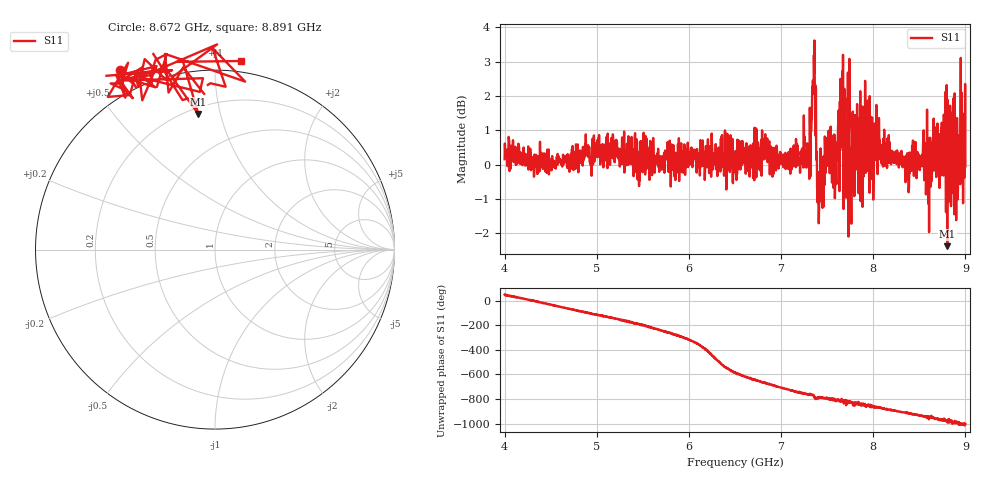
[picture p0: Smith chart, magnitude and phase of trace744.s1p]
! Created with skrf 1.8.0 (http://scikit-rf.org).
# Hz S RI R 50.0
!freq ReS11 ImS11
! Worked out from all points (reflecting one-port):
!   1601 points, 4 GHz to 9 GHz, reference 50 ohm
!   lowest |S11| = -2.4 dB at 8.803 GHz (marker M1), VSWR 7.36, Z = 11.9 + j42.8 ohm
!   phase of S11 starts at 49 deg and turns -1053 deg over the sweep
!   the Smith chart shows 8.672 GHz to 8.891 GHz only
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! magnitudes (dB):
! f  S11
! 4 GHz  0.2
! 4.625 GHz  -0.1
! 5.25 GHz  -0.1
! 5.875 GHz  0.2
! 6.416 GHz  0.1
! 6.5 GHz  0.2
! 6.562 GHz  0.7
! 7.125 GHz  0.2
! 7.294 GHz  0.4
! 7.353 GHz  2.1
! 7.409 GHz  -1.7
! 7.5 GHz  0.7
! 7.609 GHz  0.5
! 7.669 GHz  1.4
! 7.75 GHz  0.4
! 7.769 GHz  -0.5
! 7.8 GHz  -0.9
! 7.928 GHz  0.8
! 7.981 GHz  -0.4
! 8.05 GHz  0.3
! 8.375 GHz  -0.4
! 8.522 GHz  0.0
! 8.612 GHz  -0.6
! 8.759 GHz  1.0
! 8.803 GHz  -2.4
! 8.919 GHz  -0.7
! 8.972 GHz  0.5
! 9 GHz  0.0
